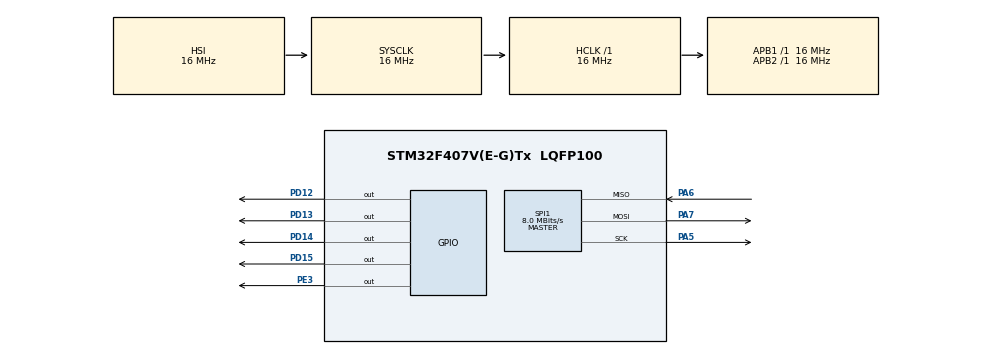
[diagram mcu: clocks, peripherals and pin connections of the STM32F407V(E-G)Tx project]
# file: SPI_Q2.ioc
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Mcu.Family=STM32F4
Mcu.Name=STM32F407V(E-G)Tx
Mcu.Package=LQFP100
NVIC.PriorityGroup=NVIC_PRIORITYGROUP_4
PA5.Mode=Full_Duplex_Master
PA5.Signal=SPI1_SCK
PA6.Mode=Full_Duplex_Master
PA6.Signal=SPI1_MISO
PA7.Mode=Full_Duplex_Master
PA7.Signal=SPI1_MOSI
PD12.Signal=GPIO_Output
PD13.Signal=GPIO_Output
PD14.Signal=GPIO_Output
PD15.Signal=GPIO_Output
PE3.PinState=GPIO_PIN_SET
PE3.Signal=GPIO_Output
ProjectManager.HeapSize=0x200
ProjectManager.StackSize=0x400
ProjectManager.TargetToolchain=STM32CubeIDE
RCC.AHBFreq_Value=16000000
RCC.APB1Freq_Value=16000000
RCC.APB2Freq_Value=16000000
RCC.CortexFreq_Value=16000000
RCC.HSE_VALUE=25000000
RCC.HSI_VALUE=16000000
RCC.LSE_VALUE=32768
RCC.SYSCLKFreq_VALUE=16000000
RCC.VCOOutputFreq_Value=192000000
SPI1.CalculateBaudRate=8.0 MBits/s
SPI1.Direction=SPI_DIRECTION_2LINES
SPI1.Mode=SPI_MODE_MASTER
SPI1.VirtualType=VM_MASTER
board=custom

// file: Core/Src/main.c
/* USER CODE BEGIN Header */
/**
  ******************************************************************************
  * @file           : main.c
  * @brief          : Main program body
  ******************************************************************************
  * @attention
  *
  * Copyright (c) 2026 STMicroelectronics.
  * All rights reserved.
  *
  * This software is licensed under terms that can be found in the LICENSE file
  * in the root directory of this software component.
  * If no LICENSE file comes with this software, it is provided AS-IS.
  *
  ******************************************************************************
  */
/* USER CODE END Header */
#include "main.h"

SPI_HandleTypeDef hspi1;

/* USER CODE BEGIN PV */
uint8_t ReadFlag = 0x80;

uint8_t Return[6];
uint8_t TxBuf[2];

int16_t accel_x;
int16_t accel_y;
int16_t accel_z;

uint16_t threshold = 1500;
/* USER CODE END PV */

void SystemClock_Config(void);
static void MX_GPIO_Init(void);
static void MX_SPI1_Init(void);

int main(void)
{

  /* MCU Configuration--------------------------------------------------------*/

  /* Reset of all peripherals, Initializes the Flash interface and the Systick. */
  HAL_Init();

  /* Configure the system clock */
  SystemClock_Config();

  /* Initialize all configured peripherals */
  MX_GPIO_Init();
  MX_SPI1_Init();
  /* USER CODE BEGIN 2 */
  /* CTRL_REG4 */
  HAL_GPIO_WritePin(GPIOE, GPIO_PIN_3, GPIO_PIN_RESET);

  TxBuf[0] = 0x20;       // WRITE -> bit7 = 0
  TxBuf[1] = 0x47;       // 25 Hz, XYZ enabled

  HAL_SPI_Transmit(&hspi1, TxBuf, 2, 50);

  HAL_GPIO_WritePin(GPIOE, GPIO_PIN_3, GPIO_PIN_SET);

  /* CTRL_REG5 */
	HAL_GPIO_WritePin(GPIOE, GPIO_PIN_3, GPIO_PIN_RESET);

	TxBuf[0] = 0x24;       // CTRL_REG5
	TxBuf[1] = 0xC0;

	HAL_SPI_Transmit(&hspi1, TxBuf, 2, 50);

	HAL_GPIO_WritePin(GPIOE, GPIO_PIN_3, GPIO_PIN_SET);

	/* CTRL_REG6 */
	HAL_GPIO_WritePin(GPIOE, GPIO_PIN_3, GPIO_PIN_RESET);

	TxBuf[0] = 0x25;       // CTRL_REG6
	TxBuf[1] = 0x10;

	HAL_SPI_Transmit(&hspi1, TxBuf, 2, 50);

	HAL_GPIO_WritePin(GPIOE, GPIO_PIN_3, GPIO_PIN_SET);

  /* USER CODE END 2 */

  /* Infinite loop */
  while (1)
  {

    /* USER CODE BEGIN 3 */
	  // Status Register Read
	  HAL_GPIO_WritePin(GPIOE, GPIO_PIN_3, GPIO_PIN_RESET);
	  TxBuf[0] = 0x27 | ReadFlag;
	  HAL_SPI_Transmit(&hspi1, TxBuf, 1, 10);
	  HAL_SPI_Receive(&hspi1, Return, 1, 10);
	  HAL_GPIO_WritePin(GPIOE, GPIO_PIN_3, GPIO_PIN_SET);

	  if((Return[0] & 0x07) == 0x07){

		  HAL_GPIO_WritePin(GPIOE, GPIO_PIN_3, GPIO_PIN_RESET);

		  /* Start from X low byte */
		  TxBuf[0] = 0x28 | ReadFlag;

		  HAL_SPI_Transmit(&hspi1, TxBuf, 1, 50);

		  /* X_L X_H Y_L Y_H Z_L Z_H */
		  HAL_SPI_Receive(&hspi1, Return, 6, 50);

		  HAL_GPIO_WritePin(GPIOE, GPIO_PIN_3, GPIO_PIN_SET);

		  accel_x = (int16_t)(((uint16_t)Return[1] << 8)
						   | Return[0]);

		  accel_y = (int16_t)(((uint16_t)Return[3] << 8)
						   | Return[2]);

		  accel_z = (int16_t)(((uint16_t)Return[5] << 8)
						   | Return[4]);

		  HAL_GPIO_WritePin(GPIOD, GPIO_PIN_14, accel_x > threshold);
		  HAL_GPIO_WritePin(GPIOD, GPIO_PIN_12, accel_x < -threshold);
		  HAL_GPIO_WritePin(GPIOD, GPIO_PIN_13, accel_y > threshold);
		  HAL_GPIO_WritePin(GPIOD, GPIO_PIN_15, accel_y < -threshold);

		  HAL_Delay(100);
	  }

  }
  /* USER CODE END 3 */
}

void SystemClock_Config(void)
{
  RCC_OscInitTypeDef RCC_OscInitStruct = {0};
  RCC_ClkInitTypeDef RCC_ClkInitStruct = {0};

  /** Configure the main internal regulator output voltage
  */
  __HAL_RCC_PWR_CLK_ENABLE();
  __HAL_PWR_VOLTAGESCALING_CONFIG(PWR_REGULATOR_VOLTAGE_SCALE1);

  /** Initializes the RCC Oscillators according to the specified parameters
  * in the RCC_OscInitTypeDef structure.
  */
  RCC_OscInitStruct.OscillatorType = RCC_OSCILLATORTYPE_HSI;
  RCC_OscInitStruct.HSIState = RCC_HSI_ON;
  RCC_OscInitStruct.HSICalibrationValue = RCC_HSICALIBRATION_DEFAULT;
  RCC_OscInitStruct.PLL.PLLState = RCC_PLL_NONE;
  if (HAL_RCC_OscConfig(&RCC_OscInitStruct) != HAL_OK)
  {
    Error_Handler();
  }

  /** Initializes the CPU, AHB and APB buses clocks
  */
  RCC_ClkInitStruct.ClockType = RCC_CLOCKTYPE_HCLK|RCC_CLOCKTYPE_SYSCLK
                              |RCC_CLOCKTYPE_PCLK1|RCC_CLOCKTYPE_PCLK2;
  RCC_ClkInitStruct.SYSCLKSource = RCC_SYSCLKSOURCE_HSI;
  RCC_ClkInitStruct.AHBCLKDivider = RCC_SYSCLK_DIV1;
  RCC_ClkInitStruct.APB1CLKDivider = RCC_HCLK_DIV1;
  RCC_ClkInitStruct.APB2CLKDivider = RCC_HCLK_DIV1;

  if (HAL_RCC_ClockConfig(&RCC_ClkInitStruct, FLASH_LATENCY_0) != HAL_OK)
  {
    Error_Handler();
  }
}

static void MX_SPI1_Init(void)
{

  /* SPI1 parameter configuration*/
  hspi1.Instance = SPI1;
  hspi1.Init.Mode = SPI_MODE_MASTER;
  hspi1.Init.Direction = SPI_DIRECTION_2LINES;
  hspi1.Init.DataSize = SPI_DATASIZE_8BIT;
  hspi1.Init.CLKPolarity = SPI_POLARITY_LOW;
  hspi1.Init.CLKPhase = SPI_PHASE_1EDGE;
  hspi1.Init.NSS = SPI_NSS_SOFT;
  hspi1.Init.BaudRatePrescaler = SPI_BAUDRATEPRESCALER_2;
  hspi1.Init.FirstBit = SPI_FIRSTBIT_MSB;
  hspi1.Init.TIMode = SPI_TIMODE_DISABLE;
  hspi1.Init.CRCCalculation = SPI_CRCCALCULATION_DISABLE;
  hspi1.Init.CRCPolynomial = 10;
  if (HAL_SPI_Init(&hspi1) != HAL_OK)
  {
    Error_Handler();
  }

}

static void MX_GPIO_Init(void)
{
  GPIO_InitTypeDef GPIO_InitStruct = {0};

  /* GPIO Ports Clock Enable */
  __HAL_RCC_GPIOE_CLK_ENABLE();
  __HAL_RCC_GPIOA_CLK_ENABLE();
  __HAL_RCC_GPIOD_CLK_ENABLE();

  /*Configure GPIO pin Output Level */
  HAL_GPIO_WritePin(GPIOE, GPIO_PIN_3, GPIO_PIN_SET);

  /*Configure GPIO pin Output Level */
  HAL_GPIO_WritePin(GPIOD, GPIO_PIN_12|GPIO_PIN_13|GPIO_PIN_14|GPIO_PIN_15, GPIO_PIN_RESET);

  /*Configure GPIO pin : PE3 */
  GPIO_InitStruct.Pin = GPIO_PIN_3;
  GPIO_InitStruct.Mode = GPIO_MODE_OUTPUT_PP;
  GPIO_InitStruct.Pull = GPIO_NOPULL;
  GPIO_InitStruct.Speed = GPIO_SPEED_FREQ_LOW;
  HAL_GPIO_Init(GPIOE, &GPIO_InitStruct);

  /*Configure GPIO pins : PD12 PD13 PD14 PD15 */
  GPIO_InitStruct.Pin = GPIO_PIN_12|GPIO_PIN_13|GPIO_PIN_14|GPIO_PIN_15;
  GPIO_InitStruct.Mode = GPIO_MODE_OUTPUT_PP;
  GPIO_InitStruct.Pull = GPIO_NOPULL;
  GPIO_InitStruct.Speed = GPIO_SPEED_FREQ_LOW;
  HAL_GPIO_Init(GPIOD, &GPIO_InitStruct);

}

void Error_Handler(void)
{
  __disable_irq();
  while (1)
  {
  }
}
